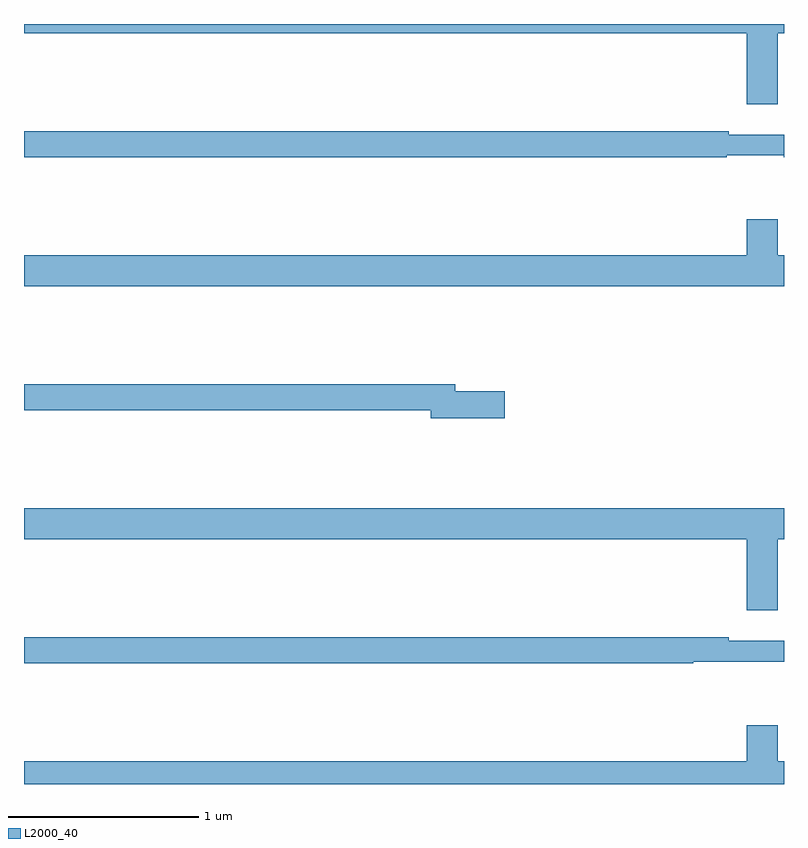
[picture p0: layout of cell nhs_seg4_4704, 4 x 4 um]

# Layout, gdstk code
import gdstk
lib = gdstk.Library(unit=1e-6, precision=1e-09)
def P(c, l, *ps):  # polygons
    for p in ps: c.add(gdstk.Polygon(p, *l))
L2000_40 = (2000, 40)

nhs_seg4_4704 = lib.new_cell('nhs_seg4_4704')
P(nhs_seg4_4704, L2000_40, [(368.968,764.852),(369,764.852),(369,764.9),(365,764.9),(365,764.852),(368.804,764.852),(368.804,764.478),(368.968,764.478)],
  [(368.698,764.208),(368.998,764.208),(368.998,764.2),(369,764.2),(369,764.317),(368.708,764.317),(368.708,764.336),(365,764.336),(365,764.2),(368.698,764.2)],
  [(369,763.684),(368.968,763.684),(368.968,763.873),(368.804,763.873),(368.804,763.684),(365,763.684),(365,763.52),(369,763.52)],
  [(367.531,762.968),(367.27,762.968),(367.27,763.004),(365,763.004),(365,762.868),(367.142,762.868),(367.142,762.826),(367.531,762.826)],
  [(368.968,762.188),(369,762.188),(369,762.352),(365,762.352),(365,762.188),(368.804,762.188),(368.804,761.814),(368.968,761.814)],
  [(368.522,761.544),(369,761.544),(369,761.653),(368.708,761.653),(368.708,761.672),(365,761.672),(365,761.536),(368.522,761.536)],
  [(369,761.02),(368.968,761.02),(368.968,761.209),(368.804,761.209),(368.804,761.02),(365,761.02),(365,760.9),(369,760.9)])

lib.write_gds('nhs_seg4_4704.gds')
